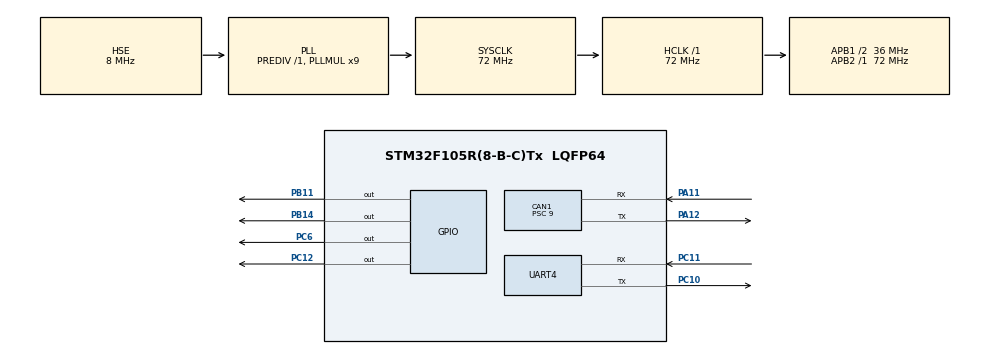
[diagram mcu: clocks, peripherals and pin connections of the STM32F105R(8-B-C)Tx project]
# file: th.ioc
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CAN1.BS1=CAN_BS1_6TQ
CAN1.CalculateTimeBit=2000
CAN1.CalculateTimeQuantum=250.0
CAN1.Prescaler=9
Dma.Request0=UART4_RX
Dma.UART4_RX.0.Direction=DMA_PERIPH_TO_MEMORY
Dma.UART4_RX.0.Instance=DMA2_Channel3
Dma.UART4_RX.0.MemDataAlignment=DMA_MDATAALIGN_BYTE
Dma.UART4_RX.0.MemInc=DMA_MINC_ENABLE
Dma.UART4_RX.0.Mode=DMA_CIRCULAR
Dma.UART4_RX.0.PeriphDataAlignment=DMA_PDATAALIGN_BYTE
Dma.UART4_RX.0.PeriphInc=DMA_PINC_DISABLE
Dma.UART4_RX.0.Priority=DMA_PRIORITY_LOW
Mcu.Family=STM32F1
Mcu.Name=STM32F105R(8-B-C)Tx
Mcu.Package=LQFP64
NVIC.CAN1_RX0_IRQn=true\:1\:0\:true\:false\:true\:true\:true
NVIC.DMA2_Channel3_IRQn=true\:0\:0\:false\:false\:true\:false\:true
NVIC.PriorityGroup=NVIC_PRIORITYGROUP_4
NVIC.TIM4_IRQn=true\:2\:0\:true\:false\:true\:true\:true
PA11.Mode=Master
PA11.Signal=CAN1_RX
PA12.Mode=Master
PA12.Signal=CAN1_TX
PA13.Mode=Serial_Wire
PA13.Signal=SYS_JTMS-SWDIO
PA14.Mode=Serial_Wire
PA14.Signal=SYS_JTCK-SWCLK
PB11.Signal=GPIO_Output
PB14.Signal=GPIO_Output
PC10.Mode=Asynchronous
PC10.Signal=UART4_TX
PC11.Mode=Asynchronous
PC11.Signal=UART4_RX
PC12.Signal=GPIO_Output
PC6.Signal=GPIO_Output
PD0-OSC_IN.Mode=HSE-External-Oscillator
PD0-OSC_IN.Signal=RCC_OSC_IN
PD1-OSC_OUT.Mode=HSE-External-Oscillator
PD1-OSC_OUT.Signal=RCC_OSC_OUT
ProjectManager.HeapSize=0x200
ProjectManager.StackSize=0x400
ProjectManager.TargetToolchain=MDK-ARM V5.27
RCC.AHBFreq_Value=72000000
RCC.APB1CLKDivider=RCC_HCLK_DIV2
RCC.APB1Freq_Value=36000000
RCC.APB1TimFreq_Value=72000000
RCC.APB2Freq_Value=72000000
RCC.APB2TimFreq_Value=72000000
RCC.HCLKFreq_Value=72000000
RCC.PLLMUL=RCC_PLL_MUL9
RCC.PLLSourceVirtual=RCC_PLLSOURCE_HSE
RCC.SYSCLKFreq_VALUE=72000000
RCC.SYSCLKSource=RCC_SYSCLKSOURCE_PLLCLK
RCC.USBFreq_Value=48000000
TIM4.Period=199
TIM4.Prescaler=36000
UART4.VirtualMode=Asynchronous
VP_TIM4_VS_ClockSourceINT.Mode=Internal
board=custom

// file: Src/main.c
#include "main.h"
#include "stm32f1xx_hal_flash_ex.h"
#include "stm32f1xx_hal_def.h"

CAN_HandleTypeDef hcan1;

TIM_HandleTypeDef htim4;

UART_HandleTypeDef huart4;
DMA_HandleTypeDef hdma_uart4_rx;

void SystemClock_Config(void);
static void MX_GPIO_Init(void);
static void MX_DMA_Init(void);
static void MX_CAN1_Init(void);
static void MX_TIM4_Init(void);
static void MX_UART4_Init(void);

/* USER CODE BEGIN PFP */

CAN_TxHeaderTypeDef   TxHeader;
CAN_RxHeaderTypeDef   RxHeader;
CAN_FilterTypeDef  		sFilterConfig0;
CAN_FilterTypeDef  		sFilterConfig1;
CAN_FilterTypeDef  		sFilterConfig2;
CAN_FilterTypeDef  		sFilterConfig3;
CAN_FilterTypeDef  		sFilterConfig4;
CAN_FilterTypeDef  		sFilterConfig5;
CAN_FilterTypeDef  		sFilterConfig6;
CAN_FilterTypeDef  		sFilterConfig7;
CAN_FilterTypeDef  		sFilterConfig8;
CAN_FilterTypeDef  		sFilterConfig9;
CAN_FilterTypeDef  		sFilterConfig10;

uint8_t               TxData[8];
uint8_t               RxData[8];
uint32_t              TxMailbox;
uint8_t 							sent[13]={0x2E,0x03,0x08,0x00,0x01,0x02,0x03,0x04,0x05,0x06,0x07,0x08,0x05};
uint8_t 							rev;
uint16_t 							num=0,dem=0;
uint8_t 							ngat_truyen=0;

void cau_hinh_can_1()
{
	//================can tx===================//
	TxHeader.StdId = 0x069;//dia chi cua can
  TxHeader.RTR = CAN_RTR_DATA;
  TxHeader.IDE = CAN_ID_STD;
  TxHeader.DLC = 8;	//so byte truyen di
  TxHeader.TransmitGlobalTime = DISABLE;

	//=================can filter==============//
	/* -- id 0X2B0 ----------------------------------*/
	sFilterConfig0.FilterBank = 0;
  sFilterConfig0.FilterMode = CAN_FILTERMODE_IDMASK;
  sFilterConfig0.FilterScale = CAN_FILTERSCALE_32BIT;
  sFilterConfig0.FilterIdHigh = 0x2B0<<5;
  sFilterConfig0.FilterIdLow = 0;
  sFilterConfig0.FilterMaskIdHigh = 0x7FF<<5;
  sFilterConfig0.FilterMaskIdLow = 0;
  sFilterConfig0.FilterFIFOAssignment = CAN_RX_FIFO0;
  sFilterConfig0.FilterActivation = ENABLE;
	HAL_CAN_ConfigFilter(&hcan1, &sFilterConfig0);
//  sFilterConfig0.SlaveStartFilterBank = 14;

	/* -- id 0X4F1 ----------------------------------*/
	sFilterConfig1.FilterBank = 1;
  sFilterConfig1.FilterMode = CAN_FILTERMODE_IDMASK;
  sFilterConfig1.FilterScale = CAN_FILTERSCALE_32BIT;
  sFilterConfig1.FilterIdHigh = 0x4F1<<5;
  sFilterConfig1.FilterIdLow = 0;
  sFilterConfig1.FilterMaskIdHigh = 0x7FF<<5;
  sFilterConfig1.FilterMaskIdLow = 0;
  sFilterConfig1.FilterFIFOAssignment = CAN_RX_FIFO0;
  sFilterConfig1.FilterActivation = ENABLE;
	HAL_CAN_ConfigFilter(&hcan1, &sFilterConfig1);

	/* -- id 0X440----------------------------------*/
	sFilterConfig2.FilterBank = 2;
  sFilterConfig2.FilterMode = CAN_FILTERMODE_IDMASK;
  sFilterConfig2.FilterScale = CAN_FILTERSCALE_32BIT;
  sFilterConfig2.FilterIdHigh = 0x440<<5;
  sFilterConfig2.FilterIdLow = 0;
  sFilterConfig2.FilterMaskIdHigh = 0x7FF<<5;
  sFilterConfig2.FilterMaskIdLow = 0;
  sFilterConfig2.FilterFIFOAssignment = CAN_RX_FIFO0;
  sFilterConfig2.FilterActivation = ENABLE;
	HAL_CAN_ConfigFilter(&hcan1, &sFilterConfig2);

	/* -- id 0X510 ----------------------------------*/
	sFilterConfig3.FilterBank = 3;
  sFilterConfig3.FilterMode = CAN_FILTERMODE_IDMASK;
  sFilterConfig3.FilterScale = CAN_FILTERSCALE_32BIT;
  sFilterConfig3.FilterIdHigh = 0x510<<5;
  sFilterConfig3.FilterIdLow = 0;
  sFilterConfig3.FilterMaskIdHigh = 0x7FF<<5;
  sFilterConfig3.FilterMaskIdLow = 0;
  sFilterConfig3.FilterFIFOAssignment = CAN_RX_FIFO0;
  sFilterConfig3.FilterActivation = ENABLE;
	HAL_CAN_ConfigFilter(&hcan1, &sFilterConfig3);

	/* -- id 0X436 ----------------------------------*/
	sFilterConfig4.FilterBank = 4;
  sFilterConfig4.FilterMode = CAN_FILTERMODE_IDMASK;
  sFilterConfig4.FilterScale = CAN_FILTERSCALE_32BIT;
  sFilterConfig4.FilterIdHigh = 0x436<<5;
  sFilterConfig4.FilterIdLow = 0;
  sFilterConfig4.FilterMaskIdHigh = 0x7FF<<5;
  sFilterConfig4.FilterMaskIdLow = 0;
  sFilterConfig4.FilterFIFOAssignment = CAN_RX_FIFO0;
  sFilterConfig4.FilterActivation = ENABLE;
	HAL_CAN_ConfigFilter(&hcan1, &sFilterConfig4);

	/* -- id 0X50E ----------------------------------*/
	sFilterConfig5.FilterBank = 5;
  sFilterConfig5.FilterMode = CAN_FILTERMODE_IDMASK;
  sFilterConfig5.FilterScale = CAN_FILTERSCALE_32BIT;
  sFilterConfig5.FilterIdHigh = 0x50E<<5;
  sFilterConfig5.FilterIdLow = 0;
  sFilterConfig5.FilterMaskIdHigh = 0x7FF<<5;
  sFilterConfig5.FilterMaskIdLow = 0;
  sFilterConfig5.FilterFIFOAssignment = CAN_RX_FIFO0;
  sFilterConfig5.FilterActivation = ENABLE;
	HAL_CAN_ConfigFilter(&hcan1, &sFilterConfig5);

	/* -- id 0X316 ----------------------------------*/
	sFilterConfig6.FilterBank = 6;
  sFilterConfig6.FilterMode = CAN_FILTERMODE_IDMASK;
  sFilterConfig6.FilterScale = CAN_FILTERSCALE_32BIT;
  sFilterConfig6.FilterIdHigh = 0x316<<5;
  sFilterConfig6.FilterIdLow = 0;
  sFilterConfig6.FilterMaskIdHigh = 0x7FF<<5;
  sFilterConfig6.FilterMaskIdLow = 0;
  sFilterConfig6.FilterFIFOAssignment = CAN_RX_FIFO0;
  sFilterConfig6.FilterActivation = ENABLE;
	HAL_CAN_ConfigFilter(&hcan1, &sFilterConfig6);

	/* -- id 0X43F ----------------------------------*/
	sFilterConfig7.FilterBank = 7;
  sFilterConfig7.FilterMode = CAN_FILTERMODE_IDMASK;
  sFilterConfig7.FilterScale = CAN_FILTERSCALE_32BIT;
  sFilterConfig7.FilterIdHigh = 0x43F<<5;
  sFilterConfig7.FilterIdLow = 0;
  sFilterConfig7.FilterMaskIdHigh = 0x7FF<<5;
  sFilterConfig7.FilterMaskIdLow = 0;
  sFilterConfig7.FilterFIFOAssignment = CAN_RX_FIFO0;
  sFilterConfig7.FilterActivation = ENABLE;
	HAL_CAN_ConfigFilter(&hcan1, &sFilterConfig7);

	/* -- id 0X018 ----------------------------------*/
	sFilterConfig8.FilterBank = 8;
  sFilterConfig8.FilterMode = CAN_FILTERMODE_IDMASK;
  sFilterConfig8.FilterScale = CAN_FILTERSCALE_32BIT;
  sFilterConfig8.FilterIdHigh = 0x018<<5;
  sFilterConfig8.FilterIdLow = 0;
  sFilterConfig8.FilterMaskIdHigh = 0x7FF<<5;
  sFilterConfig8.FilterMaskIdLow = 0;
  sFilterConfig8.FilterFIFOAssignment = CAN_RX_FIFO0;
  sFilterConfig8.FilterActivation = ENABLE;
	HAL_CAN_ConfigFilter(&hcan1, &sFilterConfig8);

	/* -- id 0X111 ----------------------------------*/
	sFilterConfig9.FilterBank = 9;
  sFilterConfig9.FilterMode = CAN_FILTERMODE_IDMASK;
  sFilterConfig9.FilterScale = CAN_FILTERSCALE_32BIT;
  sFilterConfig9.FilterIdHigh = 0x111<<5;
  sFilterConfig9.FilterIdLow = 0;
  sFilterConfig9.FilterMaskIdHigh = 0x7FF<<5;
  sFilterConfig9.FilterMaskIdLow = 0;
  sFilterConfig9.FilterFIFOAssignment = CAN_RX_FIFO0;
  sFilterConfig9.FilterActivation = ENABLE;
	HAL_CAN_ConfigFilter(&hcan1, &sFilterConfig9);

		/* -- id 0X112 ----------------------------------*/
	sFilterConfig10.FilterBank = 10;
  sFilterConfig10.FilterMode = CAN_FILTERMODE_IDMASK;
  sFilterConfig10.FilterScale = CAN_FILTERSCALE_32BIT;
  sFilterConfig10.FilterIdHigh = 0x112<<5;
  sFilterConfig10.FilterIdLow = 0;
  sFilterConfig10.FilterMaskIdHigh = 0x7FF<<5;
  sFilterConfig10.FilterMaskIdLow = 0;
  sFilterConfig10.FilterFIFOAssignment = CAN_RX_FIFO0;
  sFilterConfig10.FilterActivation = ENABLE;
	HAL_CAN_ConfigFilter(&hcan1, &sFilterConfig10);

	//==================cho phep can hoat dong=================//
	HAL_CAN_Start(&hcan1);

	//==================kich hoat ngat can=====================//
	HAL_CAN_ActivateNotification(&hcan1,CAN_IT_RX_FIFO0_MSG_PENDING);

	//======== kich chan can vat ly =================
	HAL_GPIO_WritePin(GPIOB,GPIO_PIN_14,GPIO_PIN_SET);		//EN
	HAL_GPIO_WritePin(GPIOB,GPIO_PIN_11,GPIO_PIN_SET);		//VCC
	HAL_GPIO_WritePin(GPIOC,GPIO_PIN_12,GPIO_PIN_SET);		//STB
}

/* USER CODE END PFP */

int main(void)
{
  HAL_Init();

  SystemClock_Config();

  MX_GPIO_Init();
  MX_DMA_Init();
  MX_CAN1_Init();
  MX_TIM4_Init();
  MX_UART4_Init();
  /* USER CODE BEGIN 2 */
//	HAL_UART_Receive_DMA(&huart4, &rev, 1);
	HAL_TIM_Base_Start_IT(&htim4);
	cau_hinh_can_1();
//	sent[12]=0x01&0x03;
	sent[12]=((sent[0]&sent[1]&sent[2]&sent[3]&sent[4]&sent[5]&sent[6]&sent[7]&sent[8]&sent[9]&sent[10]&sent[11])^0xFF)&0xFF;
  /* USER CODE END 2 */

  /* Infinite loop */
  /* USER CODE BEGIN WHILE */
  while (1)
  {
//		while(ngat_truyen==1&num<=5)
//		{
//			num++;
//			HAL_CAN_AddTxMessage(&hcan1, &TxHeader, TxData, &TxMailbox);
//			HAL_Delay(100);
//		}
		HAL_CAN_AddTxMessage(&hcan1, &TxHeader, TxData, &TxMailbox);
		HAL_Delay(1000);
//		num=0;
//		ngat_truyen=0;

    /* USER CODE END WHILE */

  }
}

void SystemClock_Config(void)
{
  RCC_OscInitTypeDef RCC_OscInitStruct = {0};
  RCC_ClkInitTypeDef RCC_ClkInitStruct = {0};

  /** Initializes the CPU, AHB and APB busses clocks
  */
  RCC_OscInitStruct.OscillatorType = RCC_OSCILLATORTYPE_HSE;
  RCC_OscInitStruct.HSEState = RCC_HSE_ON;
  RCC_OscInitStruct.HSEPredivValue = RCC_HSE_PREDIV_DIV1;
  RCC_OscInitStruct.HSIState = RCC_HSI_ON;
  RCC_OscInitStruct.Prediv1Source = RCC_PREDIV1_SOURCE_HSE;
  RCC_OscInitStruct.PLL.PLLState = RCC_PLL_ON;
  RCC_OscInitStruct.PLL.PLLSource = RCC_PLLSOURCE_HSE;
  RCC_OscInitStruct.PLL.PLLMUL = RCC_PLL_MUL9;
  RCC_OscInitStruct.PLL2.PLL2State = RCC_PLL_NONE;
  if (HAL_RCC_OscConfig(&RCC_OscInitStruct) != HAL_OK)
  {
    Error_Handler();
  }
  /** Initializes the CPU, AHB and APB busses clocks
  */
  RCC_ClkInitStruct.ClockType = RCC_CLOCKTYPE_HCLK|RCC_CLOCKTYPE_SYSCLK
                              |RCC_CLOCKTYPE_PCLK1|RCC_CLOCKTYPE_PCLK2;
  RCC_ClkInitStruct.SYSCLKSource = RCC_SYSCLKSOURCE_PLLCLK;
  RCC_ClkInitStruct.AHBCLKDivider = RCC_SYSCLK_DIV1;
  RCC_ClkInitStruct.APB1CLKDivider = RCC_HCLK_DIV2;
  RCC_ClkInitStruct.APB2CLKDivider = RCC_HCLK_DIV1;

  if (HAL_RCC_ClockConfig(&RCC_ClkInitStruct, FLASH_LATENCY_2) != HAL_OK)
  {
    Error_Handler();
  }
  /** Configure the Systick interrupt time
  */
  __HAL_RCC_PLLI2S_ENABLE();
}

static void MX_CAN1_Init(void)
{

  hcan1.Instance = CAN1;
  hcan1.Init.Prescaler = 9;
  hcan1.Init.Mode = CAN_MODE_NORMAL;
  hcan1.Init.SyncJumpWidth = CAN_SJW_1TQ;
  hcan1.Init.TimeSeg1 = CAN_BS1_6TQ;
  hcan1.Init.TimeSeg2 = CAN_BS2_1TQ;
  hcan1.Init.TimeTriggeredMode = DISABLE;
  hcan1.Init.AutoBusOff = DISABLE;
  hcan1.Init.AutoWakeUp = DISABLE;
  hcan1.Init.AutoRetransmission = DISABLE;
  hcan1.Init.ReceiveFifoLocked = DISABLE;
  hcan1.Init.TransmitFifoPriority = DISABLE;
  if (HAL_CAN_Init(&hcan1) != HAL_OK)
  {
    Error_Handler();
  }

}

static void MX_TIM4_Init(void)
{

  TIM_ClockConfigTypeDef sClockSourceConfig = {0};
  TIM_MasterConfigTypeDef sMasterConfig = {0};

  htim4.Instance = TIM4;
  htim4.Init.Prescaler = 36000;
  htim4.Init.CounterMode = TIM_COUNTERMODE_UP;
  htim4.Init.Period = 199;
  htim4.Init.ClockDivision = TIM_CLOCKDIVISION_DIV1;
  htim4.Init.AutoReloadPreload = TIM_AUTORELOAD_PRELOAD_DISABLE;
  if (HAL_TIM_Base_Init(&htim4) != HAL_OK)
  {
    Error_Handler();
  }
  sClockSourceConfig.ClockSource = TIM_CLOCKSOURCE_INTERNAL;
  if (HAL_TIM_ConfigClockSource(&htim4, &sClockSourceConfig) != HAL_OK)
  {
    Error_Handler();
  }
  sMasterConfig.MasterOutputTrigger = TIM_TRGO_RESET;
  sMasterConfig.MasterSlaveMode = TIM_MASTERSLAVEMODE_DISABLE;
  if (HAL_TIMEx_MasterConfigSynchronization(&htim4, &sMasterConfig) != HAL_OK)
  {
    Error_Handler();
  }

}

static void MX_UART4_Init(void)
{

  huart4.Instance = UART4;
  huart4.Init.BaudRate = 115200;
  huart4.Init.WordLength = UART_WORDLENGTH_8B;
  huart4.Init.StopBits = UART_STOPBITS_1;
  huart4.Init.Parity = UART_PARITY_NONE;
  huart4.Init.Mode = UART_MODE_TX_RX;
  huart4.Init.HwFlowCtl = UART_HWCONTROL_NONE;
  huart4.Init.OverSampling = UART_OVERSAMPLING_16;
  if (HAL_UART_Init(&huart4) != HAL_OK)
  {
    Error_Handler();
  }

}

static void MX_DMA_Init(void)
{

  /* DMA controller clock enable */
  __HAL_RCC_DMA2_CLK_ENABLE();

  /* DMA interrupt init */
  /* DMA2_Channel3_IRQn interrupt configuration */
  HAL_NVIC_SetPriority(DMA2_Channel3_IRQn, 0, 0);
  HAL_NVIC_EnableIRQ(DMA2_Channel3_IRQn);

}

static void MX_GPIO_Init(void)
{
  GPIO_InitTypeDef GPIO_InitStruct = {0};

  /* GPIO Ports Clock Enable */
  __HAL_RCC_GPIOD_CLK_ENABLE();
  __HAL_RCC_GPIOB_CLK_ENABLE();
  __HAL_RCC_GPIOC_CLK_ENABLE();
  __HAL_RCC_GPIOA_CLK_ENABLE();

  /*Configure GPIO pin Output Level */
  HAL_GPIO_WritePin(GPIOB, GPIO_PIN_11|GPIO_PIN_14, GPIO_PIN_RESET);

  /*Configure GPIO pin Output Level */
  HAL_GPIO_WritePin(GPIOC, GPIO_PIN_6|GPIO_PIN_12, GPIO_PIN_RESET);

  /*Configure GPIO pins : PB11 PB14 */
  GPIO_InitStruct.Pin = GPIO_PIN_11|GPIO_PIN_14;
  GPIO_InitStruct.Mode = GPIO_MODE_OUTPUT_PP;
  GPIO_InitStruct.Pull = GPIO_NOPULL;
  GPIO_InitStruct.Speed = GPIO_SPEED_FREQ_LOW;
  HAL_GPIO_Init(GPIOB, &GPIO_InitStruct);

  /*Configure GPIO pins : PC6 PC12 */
  GPIO_InitStruct.Pin = GPIO_PIN_6|GPIO_PIN_12;
  GPIO_InitStruct.Mode = GPIO_MODE_OUTPUT_PP;
  GPIO_InitStruct.Pull = GPIO_NOPULL;
  GPIO_InitStruct.Speed = GPIO_SPEED_FREQ_LOW;
  HAL_GPIO_Init(GPIOC, &GPIO_InitStruct);

}

void Error_Handler(void)
{
}
